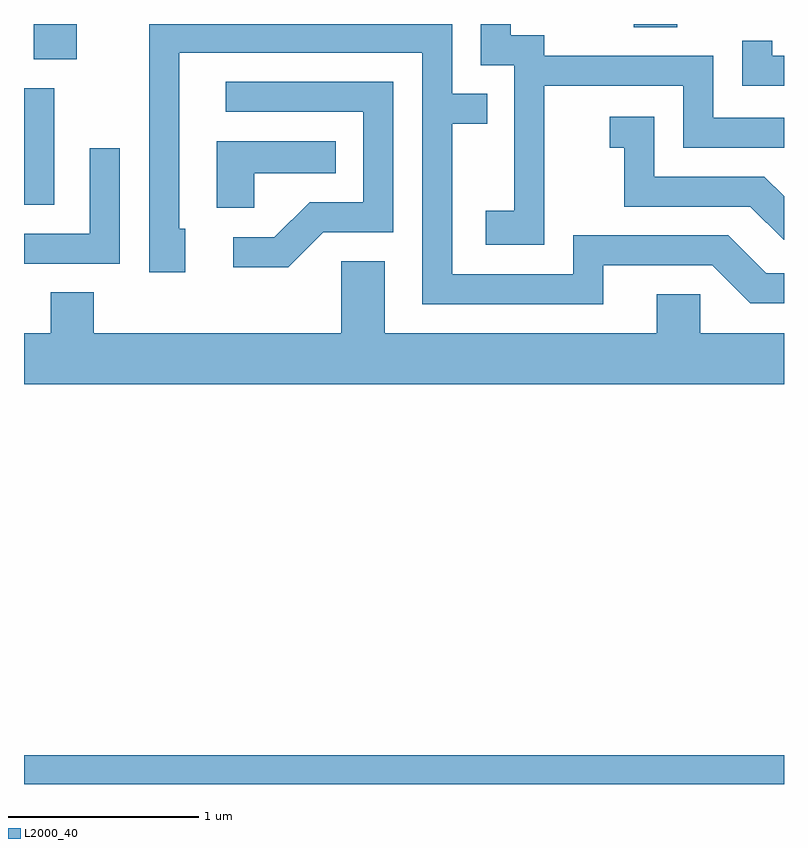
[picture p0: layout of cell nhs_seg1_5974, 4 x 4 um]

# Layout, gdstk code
import gdstk
lib = gdstk.Library(unit=1e-6, precision=1e-09)
def R(c, l, rs):  # rectangles x0, y0, x1, y1
    for r in rs: c.add(gdstk.rectangle(r[:2], r[2:], *l))
def P(c, l, *ps):  # polygons
    for p in ps: c.add(gdstk.Polygon(p, *l))
L2000_40 = (2000, 40)

nhs_seg1_5974 = lib.new_cell('nhs_seg1_5974')
R(nhs_seg1_5974, L2000_40, [(365.611,879.712,369.611,879.864), (365.611,882.761,365.769,883.374), (365.661,883.526,365.889,883.712), (368.821,883.696,369.049,883.712)])
P(nhs_seg1_5974, L2000_40, [(368.659,882.441),(369.234,882.441),(369.434,882.241),(369.611,882.241),(369.611,882.399),(369.517,882.399),(369.317,882.599),(368.501,882.599),(368.501,882.394),(367.864,882.394),(367.864,883.186),(368.048,883.186),(368.048,883.344),(367.864,883.344),(367.864,883.712),(366.271,883.712),(366.271,882.406),(366.459,882.406),(366.459,882.634),(366.429,882.634),(366.429,883.561),(367.706,883.561),(367.706,882.236),(368.659,882.236)],
  [(368.349,883.386),(369.081,883.386),(369.081,883.061),(369.611,883.061),(369.611,883.219),(369.239,883.219),(369.239,883.544),(368.349,883.544),(368.349,883.654),(368.174,883.654),(368.174,883.712),(368.016,883.712),(368.016,883.496),(368.191,883.496),(368.191,882.729),(368.041,882.729),(368.041,882.551),(368.349,882.551)],
  [(369.611,883.544),(369.549,883.544),(369.549,883.623),(369.391,883.623),(369.391,883.386),(369.611,883.386)],
  [(367.187,882.616),(367.554,882.616),(367.554,883.409),(366.673,883.409),(366.673,883.251),(367.396,883.251),(367.396,882.774),(367.114,882.774),(366.929,882.589),(366.713,882.589),(366.713,882.431),(367.002,882.431)],
  [(369.611,882.805),(369.507,882.909),(368.929,882.909),(368.929,883.224),(368.693,883.224),(368.693,883.061),(368.771,883.061),(368.771,882.751),(369.434,882.751),(369.609,882.576),(369.611,882.576)],
  [(366.824,882.926),(367.253,882.926),(367.253,883.094),(366.626,883.094),(366.626,882.746),(366.824,882.746)],
  [(366.114,883.058),(365.956,883.058),(365.956,882.609),(365.611,882.609),(365.611,882.451),(366.114,882.451)],
  [(369.611,882.084),(369.169,882.084),(369.169,882.289),(368.941,882.289),(368.941,882.084),(367.509,882.084),(367.509,882.464),(367.281,882.464),(367.281,882.084),(365.979,882.084),(365.979,882.299),(365.751,882.299),(365.751,882.084),(365.611,882.084),(365.611,881.816),(369.611,881.816)])

lib.write_gds('nhs_seg1_5974.gds')
